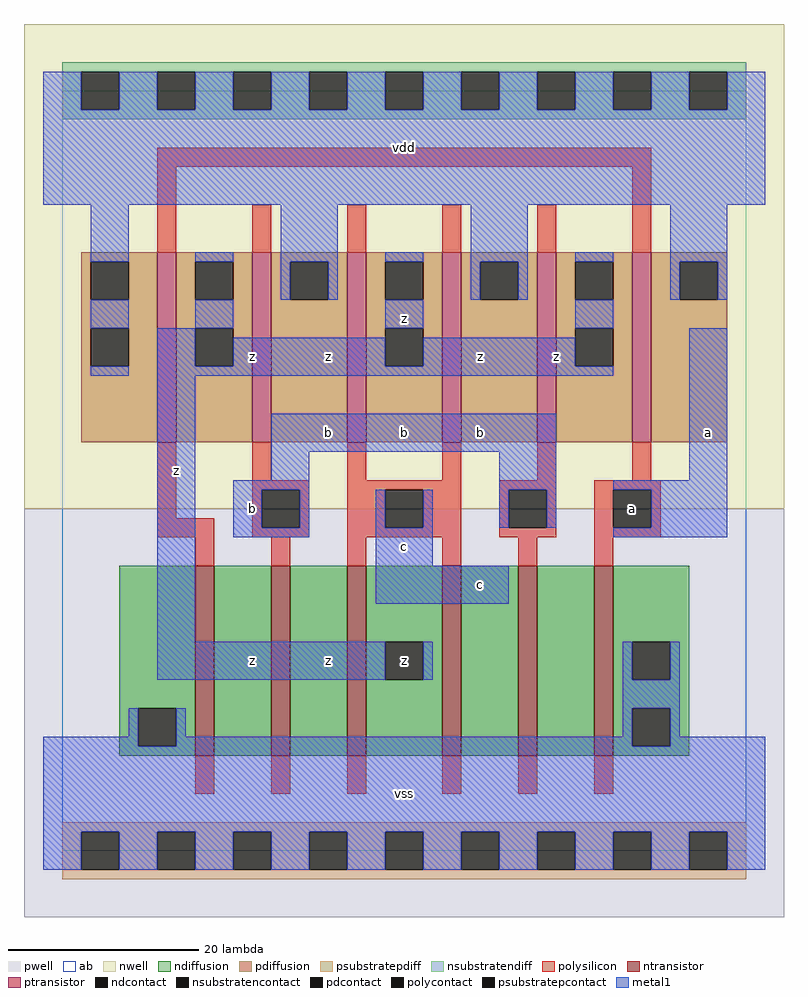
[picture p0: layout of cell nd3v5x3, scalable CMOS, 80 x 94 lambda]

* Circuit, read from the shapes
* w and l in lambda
.subckt nd3v5x3 a b c vdd vss z
M1 n1 a vss vss nfet w=20 l=2
M2 n2 b n1 vss nfet w=20 l=2
M3 z c n2 vss nfet w=20 l=2
M4 n3 c z vss nfet w=20 l=2
M5 n4 b n3 vss nfet w=20 l=2
M6 vss a n4 vss nfet w=20 l=2
M7 z a vdd vdd pfet w=20 l=2 m=2
M8 vdd b z vdd pfet w=20 l=2 m=2
M9 z c vdd vdd pfet w=20 l=2 m=2
.ends

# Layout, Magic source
magic
tech scmos
<< ab >>
rect 0 0 72 80
<< pwell >>
rect -4 -7 76 36
<< nwell >>
rect -4 36 76 87
<< polysilicon >>
rect 10 72 62 74
rect 10 63 12 72
rect 20 63 22 68
rect 30 63 32 68
rect 40 63 42 68
rect 50 63 52 68
rect 60 63 62 72
rect 10 35 12 43
rect 20 39 22 43
rect 30 39 32 43
rect 40 39 42 43
rect 50 39 52 43
rect 60 39 62 43
rect 20 38 26 39
rect 10 33 16 35
rect 20 34 21 38
rect 25 34 26 38
rect 20 33 26 34
rect 30 38 42 39
rect 30 34 34 38
rect 38 34 42 38
rect 30 33 42 34
rect 46 38 52 39
rect 46 34 47 38
rect 51 34 52 38
rect 46 33 52 34
rect 56 38 63 39
rect 56 34 58 38
rect 62 34 63 38
rect 56 33 63 34
rect 14 30 16 33
rect 22 30 24 33
rect 30 30 32 33
rect 40 30 42 33
rect 48 30 50 33
rect 56 30 58 33
rect 14 6 16 10
rect 22 6 24 10
rect 30 6 32 10
rect 40 6 42 10
rect 48 6 50 10
rect 56 6 58 10
<< ndiffusion >>
rect 6 15 14 30
rect 6 11 8 15
rect 12 11 14 15
rect 6 10 14 11
rect 16 10 22 30
rect 24 10 30 30
rect 32 22 40 30
rect 32 18 34 22
rect 38 18 40 22
rect 32 10 40 18
rect 42 10 48 30
rect 50 10 56 30
rect 58 22 66 30
rect 58 18 60 22
rect 64 18 66 22
rect 58 15 66 18
rect 58 11 60 15
rect 64 11 66 15
rect 58 10 66 11
<< pdiffusion >>
rect 2 62 10 63
rect 2 58 3 62
rect 7 58 10 62
rect 2 55 10 58
rect 2 51 3 55
rect 7 51 10 55
rect 2 43 10 51
rect 12 62 20 63
rect 12 58 14 62
rect 18 58 20 62
rect 12 55 20 58
rect 12 51 14 55
rect 18 51 20 55
rect 12 43 20 51
rect 22 62 30 63
rect 22 58 24 62
rect 28 58 30 62
rect 22 43 30 58
rect 32 62 40 63
rect 32 58 34 62
rect 38 58 40 62
rect 32 55 40 58
rect 32 51 34 55
rect 38 51 40 55
rect 32 43 40 51
rect 42 62 50 63
rect 42 58 44 62
rect 48 58 50 62
rect 42 43 50 58
rect 52 62 60 63
rect 52 58 54 62
rect 58 58 60 62
rect 52 55 60 58
rect 52 51 54 55
rect 58 51 60 55
rect 52 43 60 51
rect 62 62 70 63
rect 62 58 65 62
rect 69 58 70 62
rect 62 43 70 58
<< metal1 >>
rect -2 78 2 82
rect 6 78 10 82
rect 14 78 18 82
rect 22 78 26 82
rect 30 78 34 82
rect 38 78 42 82
rect 46 78 50 82
rect 54 78 58 82
rect 62 78 66 82
rect 70 78 74 82
rect -2 68 74 78
rect 3 62 7 68
rect 3 55 7 58
rect 14 62 18 63
rect 23 62 29 68
rect 23 58 24 62
rect 28 58 29 62
rect 34 62 38 63
rect 43 62 49 68
rect 43 58 44 62
rect 48 58 49 62
rect 54 62 58 63
rect 64 62 70 68
rect 64 58 65 62
rect 69 58 70 62
rect 14 55 18 58
rect 3 50 7 51
rect 10 51 14 55
rect 34 55 38 58
rect 18 51 34 54
rect 54 55 58 58
rect 38 51 54 54
rect 10 50 58 51
rect 10 22 14 50
rect 22 42 52 46
rect 22 39 26 42
rect 18 38 26 39
rect 46 38 52 42
rect 66 39 70 55
rect 18 34 21 38
rect 25 34 26 38
rect 18 33 26 34
rect 33 34 34 38
rect 38 34 39 38
rect 46 34 47 38
rect 51 34 52 38
rect 58 38 70 39
rect 62 34 70 38
rect 33 30 39 34
rect 58 33 70 34
rect 33 26 47 30
rect 10 18 34 22
rect 38 18 39 22
rect 59 18 60 22
rect 64 18 65 22
rect 59 15 65 18
rect 7 12 8 15
rect -2 11 8 12
rect 12 12 13 15
rect 59 12 60 15
rect 12 11 60 12
rect 64 12 65 15
rect 64 11 74 12
rect -2 2 74 11
rect -2 -2 2 2
rect 6 -2 10 2
rect 14 -2 18 2
rect 22 -2 26 2
rect 30 -2 34 2
rect 38 -2 42 2
rect 46 -2 50 2
rect 54 -2 58 2
rect 62 -2 66 2
rect 70 -2 74 2
<< ntransistor >>
rect 14 10 16 30
rect 22 10 24 30
rect 30 10 32 30
rect 40 10 42 30
rect 48 10 50 30
rect 56 10 58 30
<< ptransistor >>
rect 10 43 12 63
rect 20 43 22 63
rect 30 43 32 63
rect 40 43 42 63
rect 50 43 52 63
rect 60 43 62 63
<< polycontact >>
rect 21 34 25 38
rect 34 34 38 38
rect 47 34 51 38
rect 58 34 62 38
<< ndcontact >>
rect 8 11 12 15
rect 34 18 38 22
rect 60 18 64 22
rect 60 11 64 15
<< pdcontact >>
rect 3 58 7 62
rect 3 51 7 55
rect 14 58 18 62
rect 14 51 18 55
rect 24 58 28 62
rect 34 58 38 62
rect 34 51 38 55
rect 44 58 48 62
rect 54 58 58 62
rect 54 51 58 55
rect 65 58 69 62
<< psubstratepcontact >>
rect 2 -2 6 2
rect 10 -2 14 2
rect 18 -2 22 2
rect 26 -2 30 2
rect 34 -2 38 2
rect 42 -2 46 2
rect 50 -2 54 2
rect 58 -2 62 2
rect 66 -2 70 2
<< nsubstratencontact >>
rect 2 78 6 82
rect 10 78 14 82
rect 18 78 22 82
rect 26 78 30 82
rect 34 78 38 82
rect 42 78 46 82
rect 50 78 54 82
rect 58 78 62 82
rect 66 78 70 82
<< psubstratepdiff >>
rect 0 2 72 3
rect 0 -2 2 2
rect 6 -2 10 2
rect 14 -2 18 2
rect 22 -2 26 2
rect 30 -2 34 2
rect 38 -2 42 2
rect 46 -2 50 2
rect 54 -2 58 2
rect 62 -2 66 2
rect 70 -2 72 2
rect 0 -3 72 -2
<< nsubstratendiff >>
rect 0 82 72 83
rect 0 78 2 82
rect 6 78 10 82
rect 14 78 18 82
rect 22 78 26 82
rect 30 78 34 82
rect 38 78 42 82
rect 46 78 50 82
rect 54 78 58 82
rect 62 78 66 82
rect 70 78 72 82
rect 0 77 72 78
<< labels >>
rlabel metal1 20 20 20 20 6 z
rlabel metal1 12 40 12 40 6 z
rlabel metal1 20 36 20 36 6 b
rlabel metal1 20 52 20 52 6 z
rlabel metal1 36 6 36 6 6 vss
rlabel metal1 28 20 28 20 6 z
rlabel ndcontact 36 20 36 20 6 z
rlabel metal1 36 32 36 32 6 c
rlabel metal1 28 44 28 44 6 b
rlabel metal1 36 44 36 44 6 b
rlabel metal1 28 52 28 52 6 z
rlabel metal1 36 56 36 56 6 z
rlabel metal1 36 74 36 74 6 vdd
rlabel metal1 44 28 44 28 6 c
rlabel metal1 44 44 44 44 6 b
rlabel metal1 52 52 52 52 6 z
rlabel metal1 44 52 44 52 6 z
rlabel polycontact 60 36 60 36 6 a
rlabel metal1 68 44 68 44 6 a
<< end >>
